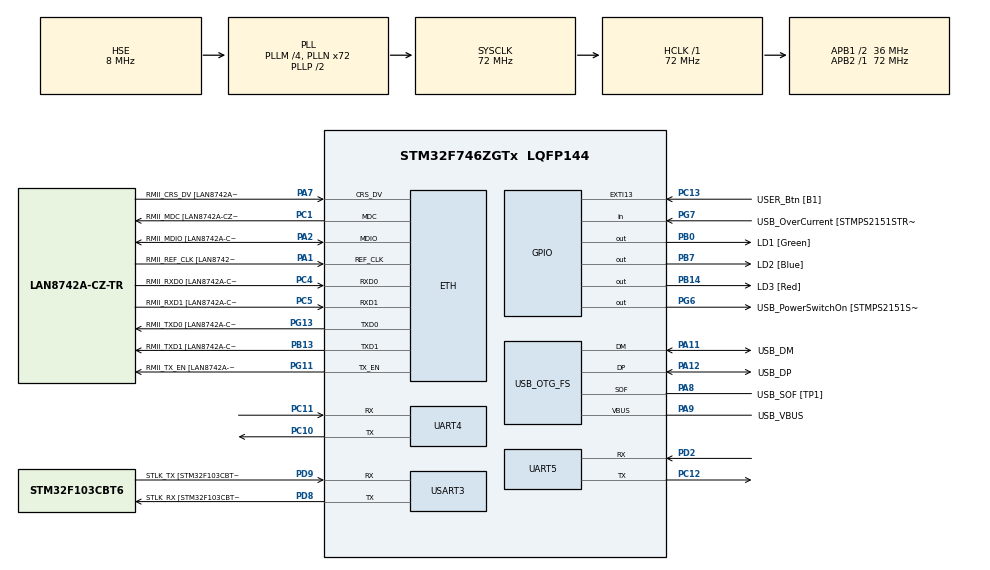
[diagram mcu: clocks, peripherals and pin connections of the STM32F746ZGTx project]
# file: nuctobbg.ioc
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ETH.MediaInterface=HAL_ETH_RMII_MODE
ETH.PHY_Name=LAN8742A_PHY_ADDRESS
ETH.PHY_Value=0
ETH.PhyAddress=0
Mcu.Family=STM32F7
Mcu.Name=STM32F746ZGTx
Mcu.Package=LQFP144
NVIC.PriorityGroup=NVIC_PRIORITYGROUP_4
PA1.GPIO_Label=RMII_REF_CLK [LAN8742A-CZ-TR_REFCLK0]
PA1.Mode=RMII
PA1.Signal=ETH_REF_CLK
PA10.GPIO_Label=USB_ID
PA10.Signal=USB_OTG_FS_ID
PA11.GPIO_Label=USB_DM
PA11.Mode=Device_Only
PA11.Signal=USB_OTG_FS_DM
PA12.GPIO_Label=USB_DP
PA12.Mode=Device_Only
PA12.Signal=USB_OTG_FS_DP
PA13.GPIO_Label=TMS
PA13.Mode=Serial_Wire
PA13.Signal=SYS_JTMS-SWDIO
PA14.GPIO_Label=TCK
PA14.Mode=Serial_Wire
PA14.Signal=SYS_JTCK-SWCLK
PA2.GPIO_Label=RMII_MDIO [LAN8742A-CZ-TR_MDIO]
PA2.Mode=RMII
PA2.Signal=ETH_MDIO
PA7.GPIO_Label=RMII_CRS_DV [LAN8742A-CZ-TR_CRS_DV]
PA7.Mode=RMII
PA7.Signal=ETH_CRS_DV
PA8.GPIO_Label=USB_SOF [TP1]
PA8.Mode=Activate_SOF_FS
PA8.Signal=USB_OTG_FS_SOF
PA9.GPIO_Label=USB_VBUS
PA9.Mode=Activate_VBUS
PA9.Signal=USB_OTG_FS_VBUS
PB0.GPIO_Label=LD1 [Green]
PB0.Signal=GPIO_Output
PB13.GPIO_Label=RMII_TXD1 [LAN8742A-CZ-TR_TXD1]
PB13.Mode=RMII
PB13.Signal=ETH_TXD1
PB14.GPIO_Label=LD3 [Red]
PB14.Signal=GPIO_Output
PB3.GPIO_Label=SW0
PB3.Signal=SYS_JTDO-SWO
PB7.GPIO_Label=LD2 [Blue]
PB7.Signal=GPIO_Output
PC1.GPIO_Label=RMII_MDC [LAN8742A-CZ-TR_MDC]
PC1.Mode=RMII
PC1.Signal=ETH_MDC
PC10.Mode=Asynchronous
PC10.Signal=UART4_TX
PC11.Mode=Asynchronous
PC11.Signal=UART4_RX
PC12.Mode=Asynchronous
PC12.Signal=UART5_TX
PC13.GPIO_Label=USER_Btn [B1]
PC13.Signal=GPXTI13
PC14/OSC32_IN.Mode=LSE-External-Oscillator
PC14/OSC32_IN.Signal=RCC_OSC32_IN
PC15/OSC32_OUT.Mode=LSE-External-Oscillator
PC15/OSC32_OUT.Signal=RCC_OSC32_OUT
PC4.GPIO_Label=RMII_RXD0 [LAN8742A-CZ-TR_RXD0]
PC4.Mode=RMII
PC4.Signal=ETH_RXD0
PC5.GPIO_Label=RMII_RXD1 [LAN8742A-CZ-TR_RXD1]
PC5.Mode=RMII
PC5.Signal=ETH_RXD1
PD2.Mode=Asynchronous
PD2.Signal=UART5_RX
PD8.GPIO_Label=STLK_RX [STM32F103CBT6_PA3]
PD8.GPIO_PuPd=GPIO_PULLUP
PD8.Mode=Asynchronous
PD8.Signal=USART3_TX
PD9.GPIO_Label=STLK_TX [STM32F103CBT6_PA2]
PD9.GPIO_PuPd=GPIO_PULLUP
PD9.Mode=Asynchronous
PD9.Signal=USART3_RX
PG11.GPIO_Label=RMII_TX_EN [LAN8742A-CZ-TR_TXEN]
PG11.Mode=RMII
PG11.Signal=ETH_TX_EN
PG13.GPIO_Label=RMII_TXD0 [LAN8742A-CZ-TR_TXD0]
PG13.Mode=RMII
PG13.Signal=ETH_TXD0
PG6.GPIO_Label=USB_PowerSwitchOn [STMPS2151STR_EN]
PG6.Signal=GPIO_Output
PG7.GPIO_Label=USB_OverCurrent [STMPS2151STR_FAULT]
PG7.Signal=GPIO_Input
PH0/OSC_IN.GPIO_Label=MCO [STM32F103CBT6_PA8]
PH0/OSC_IN.Mode=HSE-External-Clock-Source
PH0/OSC_IN.Signal=RCC_OSC_IN
PH1/OSC_OUT.Mode=HSE-External-Clock-Source
PH1/OSC_OUT.Signal=RCC_OSC_OUT
ProjectManager.HeapSize=0x200
ProjectManager.StackSize=0x400
ProjectManager.TargetToolchain=STM32CubeIDE
RCC.48MHZClocksFreq_Value=24000000
RCC.AHBFreq_Value=72000000
RCC.APB1CLKDivider=RCC_HCLK_DIV2
RCC.APB1Freq_Value=36000000
RCC.APB1TimFreq_Value=72000000
RCC.APB2Freq_Value=72000000
RCC.APB2TimFreq_Value=72000000
RCC.CortexFreq_Value=72000000
RCC.HCLKFreq_Value=72000000
RCC.HSE_VALUE=8000000
RCC.HSI_VALUE=16000000
RCC.PLLM=4
RCC.PLLMUL=RCC_PLL_MUL9
RCC.PLLN=72
RCC.PLLQ=3
RCC.PRESCALERUSB=RCC_USBCLKSOURCE_PLL_DIV1_5
RCC.SYSCLKFreq_VALUE=72000000
RCC.SYSCLKSource=RCC_SYSCLKSOURCE_PLLCLK
RCC.SYSCLKSourceVirtual=RCC_SYSCLKSOURCE_PLLCLK
RCC.USBFreq_Value=48000000
RCC.VCOOutputFreq_Value=144000000
USART3.VirtualMode-Asynchronous=VM_ASYNC
USB_OTG_FS.VirtualMode=Device_Only
board=NUCLEO-F746ZG

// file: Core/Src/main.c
/* USER CODE BEGIN Header */
/**
  ******************************************************************************
  * @file           : main.c
  * @brief          : Main program body
  ******************************************************************************
  * @attention
  *
  * Copyright (c) 2024 STMicroelectronics.
  * All rights reserved.
  *
  * This software is licensed under terms that can be found in the LICENSE file
  * in the root directory of this software component.
  * If no LICENSE file comes with this software, it is provided AS-IS.
  *
  ******************************************************************************
  */
/* USER CODE END Header */
#include "main.h"
#include "string.h"

/* USER CODE BEGIN Includes */
#include "stdio.h"
#include "stdlib.h"
#include "time.h"
/* USER CODE END Includes */

#if defined ( __ICCARM__ ) /*!< IAR Compiler */
#pragma location=0x2004c000
ETH_DMADescTypeDef  DMARxDscrTab[ETH_RX_DESC_CNT]; /* Ethernet Rx DMA Descriptors */
#pragma location=0x2004c0a0
ETH_DMADescTypeDef  DMATxDscrTab[ETH_TX_DESC_CNT]; /* Ethernet Tx DMA Descriptors */

#elif defined ( __CC_ARM )  /* MDK ARM Compiler */

__attribute__((at(0x2004c000))) ETH_DMADescTypeDef  DMARxDscrTab[ETH_RX_DESC_CNT]; /* Ethernet Rx DMA Descriptors */
__attribute__((at(0x2004c0a0))) ETH_DMADescTypeDef  DMATxDscrTab[ETH_TX_DESC_CNT]; /* Ethernet Tx DMA Descriptors */

#elif defined ( __GNUC__ ) /* GNU Compiler */
ETH_DMADescTypeDef DMARxDscrTab[ETH_RX_DESC_CNT] __attribute__((section(".RxDecripSection"))); /* Ethernet Rx DMA Descriptors */
ETH_DMADescTypeDef DMATxDscrTab[ETH_TX_DESC_CNT] __attribute__((section(".TxDecripSection")));   /* Ethernet Tx DMA Descriptors */

#endif

ETH_TxPacketConfig TxConfig;

ETH_HandleTypeDef heth;

UART_HandleTypeDef huart4;
UART_HandleTypeDef huart5;
UART_HandleTypeDef huart3;

PCD_HandleTypeDef hpcd_USB_OTG_FS;

/* USER CODE BEGIN PV */
#ifdef __GNUC__
#define PUTCHAR_PROTOTYPE int __io_putchar(int ch)
#else
#define PUTCHAR_PROTOTYPE int fputc(int ch, FILE *f)
#endif /* __GNUC__ */
PUTCHAR_PROTOTYPE
{
	HAL_UART_Transmit(&huart3, (uint8_t *)&ch, 1, HAL_MAX_DELAY); // Исправлено имя структуры UART
	return ch;
}
/* USER CODE END PV */

void SystemClock_Config(void);
static void MX_GPIO_Init(void);
static void MX_ETH_Init(void);
static void MX_USART3_UART_Init(void);
static void MX_USB_OTG_FS_PCD_Init(void);
static void MX_UART4_Init(void);
static void MX_UART5_Init(void);

int main(void)
{

  /* MCU Configuration--------------------------------------------------------*/

  /* Reset of all peripherals, Initializes the Flash interface and the Systick. */
  HAL_Init();

  /* Configure the system clock */
  SystemClock_Config();

  /* Initialize all configured peripherals */
  MX_GPIO_Init();
  MX_ETH_Init();
  MX_USART3_UART_Init();
  MX_USB_OTG_FS_PCD_Init();
  MX_UART4_Init();
  MX_UART5_Init();
  /* USER CODE BEGIN 2 */

  srand(12345); /* Initialization of generation random numbers */
  char msg[15];

	/*
	 Pin PC_10 is configured as UART-TX (port CN8) to bbg UART1-RX
	 Pin PC_11 is configured as UART-RX (port CN8)

	 Pin PD_12 is configured as UART-TX (port CN7)
	 Pin PD_2 is configured as UART-RX (port CN8) from bbg UART1-TX
	 */

  HAL_StatusTypeDef status;

  /* USER CODE END 2 */

  /* Infinite loop */
  /* USER CODE BEGIN WHILE */
  while (1)
  {
	  char random_char = (rand() % 2 == 0) ? 'D' : 'S';
	  msg[0] = random_char;

	  for (uint8_t i = 1; i <= 12; ++i)
	  {
		  msg[i] = '0' + (rand() % 10);
	  }

	  for (uint8_t i = 0; i < strlen(msg); ++i)
	  {
		  status = HAL_UART_Transmit(&huart4, (uint8_t*) (msg + i), 1, 1000);
		  if (status != HAL_OK) {
			  printf("UART_Receive failed with status: %d\r\n", status);
			  printf("[err] could not transmit Uart tx\r\n");
		  }

		  HAL_Delay(100);

	  }
	  printf("%s\r", msg);
	  HAL_Delay(100);

    /* USER CODE END WHILE */

  }
}

void SystemClock_Config(void)
{
  RCC_OscInitTypeDef RCC_OscInitStruct = {0};
  RCC_ClkInitTypeDef RCC_ClkInitStruct = {0};

  /** Configure LSE Drive Capability
  */
  HAL_PWR_EnableBkUpAccess();

  /** Configure the main internal regulator output voltage
  */
  __HAL_RCC_PWR_CLK_ENABLE();
  __HAL_PWR_VOLTAGESCALING_CONFIG(PWR_REGULATOR_VOLTAGE_SCALE3);

  /** Initializes the RCC Oscillators according to the specified parameters
  * in the RCC_OscInitTypeDef structure.
  */
  RCC_OscInitStruct.OscillatorType = RCC_OSCILLATORTYPE_HSE;
  RCC_OscInitStruct.HSEState = RCC_HSE_BYPASS;
  RCC_OscInitStruct.PLL.PLLState = RCC_PLL_ON;
  RCC_OscInitStruct.PLL.PLLSource = RCC_PLLSOURCE_HSE;
  RCC_OscInitStruct.PLL.PLLM = 4;
  RCC_OscInitStruct.PLL.PLLN = 72;
  RCC_OscInitStruct.PLL.PLLP = RCC_PLLP_DIV2;
  RCC_OscInitStruct.PLL.PLLQ = 3;
  if (HAL_RCC_OscConfig(&RCC_OscInitStruct) != HAL_OK)
  {
    Error_Handler();
  }

  /** Initializes the CPU, AHB and APB buses clocks
  */
  RCC_ClkInitStruct.ClockType = RCC_CLOCKTYPE_HCLK|RCC_CLOCKTYPE_SYSCLK
                              |RCC_CLOCKTYPE_PCLK1|RCC_CLOCKTYPE_PCLK2;
  RCC_ClkInitStruct.SYSCLKSource = RCC_SYSCLKSOURCE_PLLCLK;
  RCC_ClkInitStruct.AHBCLKDivider = RCC_SYSCLK_DIV1;
  RCC_ClkInitStruct.APB1CLKDivider = RCC_HCLK_DIV2;
  RCC_ClkInitStruct.APB2CLKDivider = RCC_HCLK_DIV1;

  if (HAL_RCC_ClockConfig(&RCC_ClkInitStruct, FLASH_LATENCY_2) != HAL_OK)
  {
    Error_Handler();
  }
}

static void MX_ETH_Init(void)
{

   static uint8_t MACAddr[6];

  heth.Instance = ETH;
  MACAddr[0] = 0x00;
  MACAddr[1] = 0x80;
  MACAddr[2] = 0xE1;
  MACAddr[3] = 0x00;
  MACAddr[4] = 0x00;
  MACAddr[5] = 0x00;
  heth.Init.MACAddr = &MACAddr[0];
  heth.Init.MediaInterface = HAL_ETH_RMII_MODE;
  heth.Init.TxDesc = DMATxDscrTab;
  heth.Init.RxDesc = DMARxDscrTab;
  heth.Init.RxBuffLen = 1524;

  if (HAL_ETH_Init(&heth) != HAL_OK)
  {
    Error_Handler();
  }

  memset(&TxConfig, 0 , sizeof(ETH_TxPacketConfig));
  TxConfig.Attributes = ETH_TX_PACKETS_FEATURES_CSUM | ETH_TX_PACKETS_FEATURES_CRCPAD;
  TxConfig.ChecksumCtrl = ETH_CHECKSUM_IPHDR_PAYLOAD_INSERT_PHDR_CALC;
  TxConfig.CRCPadCtrl = ETH_CRC_PAD_INSERT;

}

static void MX_UART4_Init(void)
{

  huart4.Instance = UART4;
  huart4.Init.BaudRate = 9600;
  huart4.Init.WordLength = UART_WORDLENGTH_8B;
  huart4.Init.StopBits = UART_STOPBITS_1;
  huart4.Init.Parity = UART_PARITY_NONE;
  huart4.Init.Mode = UART_MODE_TX_RX;
  huart4.Init.HwFlowCtl = UART_HWCONTROL_NONE;
  huart4.Init.OverSampling = UART_OVERSAMPLING_16;
  huart4.Init.OneBitSampling = UART_ONE_BIT_SAMPLE_DISABLE;
  huart4.AdvancedInit.AdvFeatureInit = UART_ADVFEATURE_NO_INIT;
  if (HAL_UART_Init(&huart4) != HAL_OK)
  {
    Error_Handler();
  }

}

static void MX_UART5_Init(void)
{

  huart5.Instance = UART5;
  huart5.Init.BaudRate = 115200;
  huart5.Init.WordLength = UART_WORDLENGTH_8B;
  huart5.Init.StopBits = UART_STOPBITS_1;
  huart5.Init.Parity = UART_PARITY_NONE;
  huart5.Init.Mode = UART_MODE_TX_RX;
  huart5.Init.HwFlowCtl = UART_HWCONTROL_NONE;
  huart5.Init.OverSampling = UART_OVERSAMPLING_16;
  huart5.Init.OneBitSampling = UART_ONE_BIT_SAMPLE_DISABLE;
  huart5.AdvancedInit.AdvFeatureInit = UART_ADVFEATURE_NO_INIT;
  if (HAL_UART_Init(&huart5) != HAL_OK)
  {
    Error_Handler();
  }

}

static void MX_USART3_UART_Init(void)
{

  huart3.Instance = USART3;
  huart3.Init.BaudRate = 115200;
  huart3.Init.WordLength = UART_WORDLENGTH_8B;
  huart3.Init.StopBits = UART_STOPBITS_1;
  huart3.Init.Parity = UART_PARITY_NONE;
  huart3.Init.Mode = UART_MODE_TX_RX;
  huart3.Init.HwFlowCtl = UART_HWCONTROL_NONE;
  huart3.Init.OverSampling = UART_OVERSAMPLING_16;
  huart3.Init.OneBitSampling = UART_ONE_BIT_SAMPLE_DISABLE;
  huart3.AdvancedInit.AdvFeatureInit = UART_ADVFEATURE_NO_INIT;
  if (HAL_UART_Init(&huart3) != HAL_OK)
  {
    Error_Handler();
  }

}

static void MX_USB_OTG_FS_PCD_Init(void)
{

  hpcd_USB_OTG_FS.Instance = USB_OTG_FS;
  hpcd_USB_OTG_FS.Init.dev_endpoints = 6;
  hpcd_USB_OTG_FS.Init.speed = PCD_SPEED_FULL;
  hpcd_USB_OTG_FS.Init.dma_enable = DISABLE;
  hpcd_USB_OTG_FS.Init.phy_itface = PCD_PHY_EMBEDDED;
  hpcd_USB_OTG_FS.Init.Sof_enable = ENABLE;
  hpcd_USB_OTG_FS.Init.low_power_enable = DISABLE;
  hpcd_USB_OTG_FS.Init.lpm_enable = DISABLE;
  hpcd_USB_OTG_FS.Init.vbus_sensing_enable = ENABLE;
  hpcd_USB_OTG_FS.Init.use_dedicated_ep1 = DISABLE;
  if (HAL_PCD_Init(&hpcd_USB_OTG_FS) != HAL_OK)
  {
    Error_Handler();
  }

}

static void MX_GPIO_Init(void)
{
  GPIO_InitTypeDef GPIO_InitStruct = {0};

  /* GPIO Ports Clock Enable */
  __HAL_RCC_GPIOC_CLK_ENABLE();
  __HAL_RCC_GPIOH_CLK_ENABLE();
  __HAL_RCC_GPIOA_CLK_ENABLE();
  __HAL_RCC_GPIOB_CLK_ENABLE();
  __HAL_RCC_GPIOD_CLK_ENABLE();
  __HAL_RCC_GPIOG_CLK_ENABLE();

  /*Configure GPIO pin Output Level */
  HAL_GPIO_WritePin(GPIOB, LD1_Pin|LD3_Pin|LD2_Pin, GPIO_PIN_RESET);

  /*Configure GPIO pin Output Level */
  HAL_GPIO_WritePin(USB_PowerSwitchOn_GPIO_Port, USB_PowerSwitchOn_Pin, GPIO_PIN_RESET);

  /*Configure GPIO pin : USER_Btn_Pin */
  GPIO_InitStruct.Pin = USER_Btn_Pin;
  GPIO_InitStruct.Mode = GPIO_MODE_IT_RISING;
  GPIO_InitStruct.Pull = GPIO_NOPULL;
  HAL_GPIO_Init(USER_Btn_GPIO_Port, &GPIO_InitStruct);

  /*Configure GPIO pins : LD1_Pin LD3_Pin LD2_Pin */
  GPIO_InitStruct.Pin = LD1_Pin|LD3_Pin|LD2_Pin;
  GPIO_InitStruct.Mode = GPIO_MODE_OUTPUT_PP;
  GPIO_InitStruct.Pull = GPIO_NOPULL;
  GPIO_InitStruct.Speed = GPIO_SPEED_FREQ_LOW;
  HAL_GPIO_Init(GPIOB, &GPIO_InitStruct);

  /*Configure GPIO pin : USB_PowerSwitchOn_Pin */
  GPIO_InitStruct.Pin = USB_PowerSwitchOn_Pin;
  GPIO_InitStruct.Mode = GPIO_MODE_OUTPUT_PP;
  GPIO_InitStruct.Pull = GPIO_NOPULL;
  GPIO_InitStruct.Speed = GPIO_SPEED_FREQ_LOW;
  HAL_GPIO_Init(USB_PowerSwitchOn_GPIO_Port, &GPIO_InitStruct);

  /*Configure GPIO pin : USB_OverCurrent_Pin */
  GPIO_InitStruct.Pin = USB_OverCurrent_Pin;
  GPIO_InitStruct.Mode = GPIO_MODE_INPUT;
  GPIO_InitStruct.Pull = GPIO_NOPULL;
  HAL_GPIO_Init(USB_OverCurrent_GPIO_Port, &GPIO_InitStruct);

}

void Error_Handler(void)
{
  __disable_irq();
  while (1)
  {
  }
}
